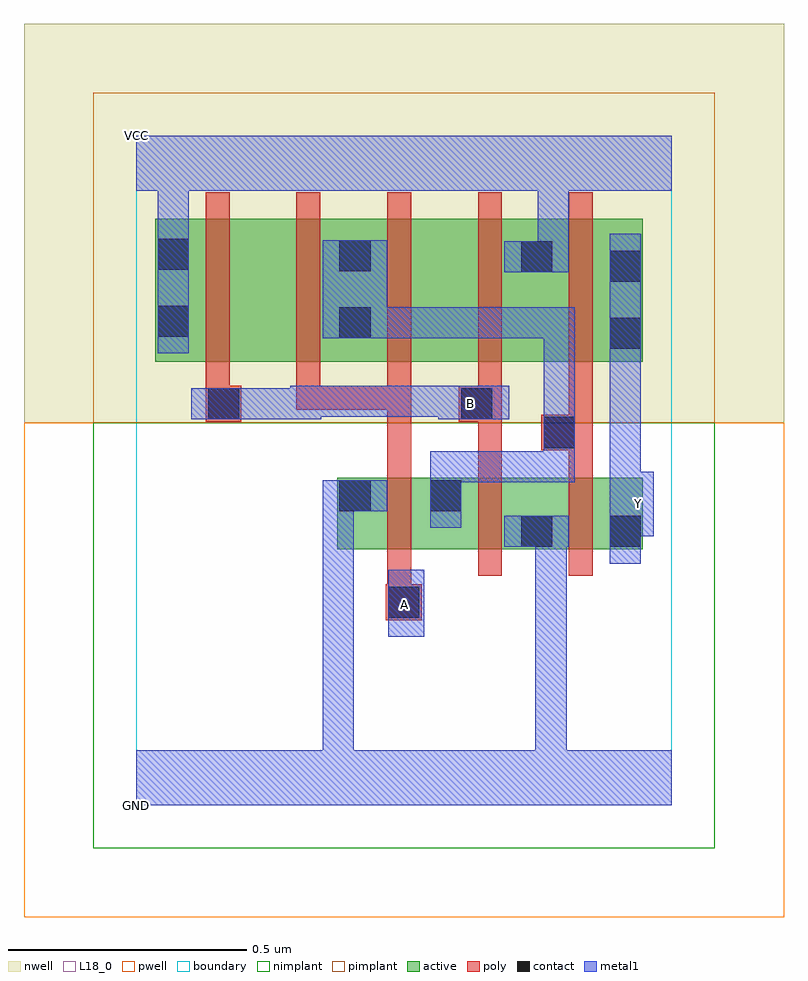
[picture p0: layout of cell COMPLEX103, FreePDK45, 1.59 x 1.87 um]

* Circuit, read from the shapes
.subckt COMPLEX103 A B GND VCC Y
M1 n1 A GND VSUBS nfet w=0.15u l=0.05u
M2 GND B n1 VSUBS nfet w=0.15u l=0.05u
M3 Y n1 GND VSUBS nfet w=0.15u l=0.05u
M4 n2 B VCC n3 pfet w=0.3u l=0.05u
M5 n1 A n2 n3 pfet w=0.3u l=0.05u
M6 n4 A n1 n3 pfet w=0.3u l=0.05u
M7 VCC B n4 n3 pfet w=0.3u l=0.05u
M8 Y n1 VCC n3 pfet w=0.3u l=0.05u
.ends

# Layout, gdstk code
import gdstk
lib = gdstk.Library(unit=1e-6, precision=1e-09)
def R(c, l, rs):  # rectangles x0, y0, x1, y1
    for r in rs: c.add(gdstk.rectangle(r[:2], r[2:], *l))
def A(c, l, x, y, w, h, nx, ny, dx, dy):  # array of equal rectangles
    R(c, l, [(x+i*dx, y+j*dy, x+i*dx+w, y+j*dy+h) for i in range(nx) for j in range(ny)])
active = (1, 0)
pwell = (2, 0)
nwell = (3, 0)
nimplant = (4, 0)
pimplant = (5, 0)
poly = (9, 0)
contact = (10, 0)
metal1 = (11, 0)
L18_0 = (18, 0)
boundary = (235, 0)

complex103 = lib.new_cell('COMPLEX103')
R(complex103, active, [(0.42,0.535,0.495,0.685), (0.42,0.535,0.685,0.685), (0.61,0.535,0.685,0.685), (0.61,0.535,0.875,0.685), (0.8,0.535,1.06,0.685), (0.8,0.535,0.875,0.61), (0.985,0.535,1.06,0.685), (0.04,0.927,0.265,1.227), (0.04,0.927,0.115,1.227), (0.265,0.927,0.495,1.227), (0.42,0.927,0.645,1.227), (0.42,0.927,0.495,1.2), (0.645,0.927,0.875,1.227), (0.8,0.927,1.06,1.227), (0.985,0.927,1.06,1.165), (0.8,1.007,0.875,1.227)])
R(complex103, pwell, [(-0.235,-0.235,1.355,0.8)])
R(complex103, nwell, [(-0.235,0.8,1.355,1.635)])
R(complex103, nimplant, [(-0.09,-0.09,1.21,0.8)])
R(complex103, pimplant, [(-0.09,0.8,1.21,1.49)])
A(complex103, poly, 0.525, 0.48, 0.05, 0.26, 3, 1, 0.19, 0)
A(complex103, poly, 0.145, 0.827, 0.05, 0.095, 4, 1, 0.19, 0)
A(complex103, poly, 0.145, 0.872, 0.05, 0.41, 5, 1, 0.19, 0)
R(complex103, poly, [(0.522,0.387,0.597,0.462), (0.525,0.412,0.575,0.53), (0.525,0.69,0.575,0.877), (0.715,0.69,0.765,0.852), (0.905,0.69,0.955,0.792), (0.847,0.742,0.955,0.817), (0.905,0.767,0.955,0.922), (0.145,0.802,0.22,0.877), (0.675,0.802,0.765,0.877), (0.335,0.827,0.385,0.877), (0.335,0.827,0.575,0.877), (0.525,0.827,0.575,0.877), (0.525,0.827,0.575,0.877), (0.525,0.827,0.575,0.877)])
R(complex103, contact, [(0.527,0.392,0.592,0.457), (0.805,0.54,0.87,0.605), (0.99,0.54,1.055,0.605), (0.425,0.615,0.49,0.68), (0.615,0.615,0.68,0.68), (0.852,0.747,0.917,0.812), (0.15,0.807,0.215,0.872), (0.68,0.807,0.745,0.872), (0.99,0.955,1.055,1.02), (0.425,0.977,0.49,1.042), (0.045,0.98,0.11,1.045), (0.99,1.095,1.055,1.16), (0.805,1.115,0.87,1.18), (0.425,1.117,0.49,1.182), (0.045,1.12,0.11,1.185)])
R(complex103, metal1, [(0,0,1.12,0.115), (0.39,0.05,0.455,0.115), (0.39,0.05,0.455,0.115), (0.39,0.05,0.455,0.115), (0.39,0.05,0.455,0.115), (0.39,0.05,0.455,0.115), (0.39,0.05,0.455,0.115), (0.39,0.05,0.455,0.68), (0.835,0.05,0.9,0.115), (0.835,0.05,0.9,0.115), (0.835,0.05,0.9,0.115), (0.835,0.05,0.9,0.115), (0.835,0.05,0.9,0.115), (0.835,0.05,0.9,0.115), (0.835,0.05,0.9,0.115), (0.835,0.05,0.9,0.115), (0.835,0.05,0.9,0.605), (0.527,0.352,0.602,0.492), (0.99,0.505,1.055,0.64), (0.77,0.54,0.905,0.605), (0.99,0.562,1.055,0.627), (0.99,0.562,1.082,0.697), (0.615,0.58,0.68,0.74), (0.39,0.615,0.455,0.68), (0.39,0.615,0.455,0.68), (0.39,0.615,0.525,0.68), (0.99,0.632,1.055,0.985), (0.615,0.675,0.762,0.74), (0.697,0.675,0.762,0.74), (0.697,0.675,0.917,0.74), (0.852,0.675,0.917,0.74), (0.852,0.675,0.917,0.777), (0.852,0.712,0.917,0.777), (0.852,0.712,0.917,0.777), (0.852,0.712,0.917,0.847), (0.852,0.712,0.917,1.042), (0.115,0.807,0.25,0.872), (0.182,0.807,0.247,0.872), (0.182,0.807,0.25,0.872), (0.185,0.807,0.387,0.872), (0.322,0.807,0.387,0.872), (0.322,0.807,0.387,0.872), (0.322,0.807,0.387,0.877), (0.632,0.807,0.78,0.877), (0.322,0.812,0.525,0.877), (0.46,0.812,0.525,0.877), (0.46,0.812,0.662,0.877), (0.597,0.812,0.662,0.877), (0.597,0.812,0.697,0.877), (0.99,0.92,1.055,1.195), (0.045,0.945,0.11,1.22), (0.39,0.977,0.525,1.182), (0.46,0.977,0.525,1.042), (0.46,0.977,0.525,1.042), (0.46,0.977,0.697,1.042), (0.632,0.977,0.697,1.042), (0.632,0.977,0.697,1.042), (0.632,0.977,0.697,1.042), (0.632,0.977,0.917,1.042), (0.852,0.977,0.917,1.042), (0.77,1.115,0.905,1.18), (0.84,1.115,0.905,1.18), (0.84,1.115,0.905,1.18), (0.84,1.115,0.905,1.35), (0.045,1.155,0.11,1.35), (0,1.285,1.12,1.4), (0.045,1.285,0.11,1.35), (0.045,1.285,0.11,1.35)])
R(complex103, L18_0, [(0,0,1.12,0.115), (0.39,0.05,0.455,0.115), (0.39,0.05,0.455,0.115), (0.39,0.05,0.455,0.115), (0.39,0.05,0.455,0.115), (0.39,0.05,0.455,0.115), (0.39,0.05,0.455,0.115), (0.39,0.05,0.455,0.68), (0.835,0.05,0.9,0.115), (0.835,0.05,0.9,0.115), (0.835,0.05,0.9,0.115), (0.835,0.05,0.9,0.115), (0.835,0.05,0.9,0.115), (0.835,0.05,0.9,0.115), (0.835,0.05,0.9,0.115), (0.835,0.05,0.9,0.115), (0.835,0.05,0.9,0.605), (0.527,0.352,0.602,0.492), (0.527,0.387,0.592,0.452), (0.99,0.505,1.055,0.64), (0.77,0.54,0.905,0.605), (0.99,0.562,1.055,0.627), (0.99,0.562,1.082,0.697), (1.017,0.597,1.082,0.662), (0.39,0.615,0.455,0.68), (0.39,0.615,0.455,0.68), (0.39,0.615,0.525,0.68), (0.99,0.632,1.055,0.985), (0.115,0.807,0.25,0.872), (0.182,0.807,0.247,0.872), (0.182,0.807,0.25,0.872), (0.185,0.807,0.387,0.872), (0.322,0.807,0.387,0.872), (0.322,0.807,0.387,0.872), (0.322,0.807,0.387,0.877), (0.632,0.807,0.78,0.877), (0.667,0.807,0.732,0.872), (0.322,0.812,0.525,0.877), (0.46,0.812,0.525,0.877), (0.46,0.812,0.662,0.877), (0.597,0.812,0.662,0.877), (0.597,0.812,0.697,0.877), (0.99,0.92,1.055,1.195), (0.045,0.945,0.11,1.22), (0.77,1.115,0.905,1.18), (0.84,1.115,0.905,1.18), (0.84,1.115,0.905,1.18), (0.84,1.115,0.905,1.35), (0.045,1.155,0.11,1.35), (0,1.285,1.12,1.4), (0.045,1.285,0.11,1.35), (0.045,1.285,0.11,1.35)])
R(complex103, boundary, [(0,0,1.12,1.4)])
complex103.add(gdstk.Label('A', (0.56,0.42), layer=11, texttype=0))
complex103.add(gdstk.Label('B', (0.7,0.84), layer=11, texttype=0))
complex103.add(gdstk.Label('Y', (1.05,0.63), layer=11, texttype=0))
complex103.add(gdstk.Label('VCC', (0,1.4), layer=11, texttype=0))
complex103.add(gdstk.Label('GND', (0,0), layer=11, texttype=0))

lib.write_gds('COMPLEX103.gds')
